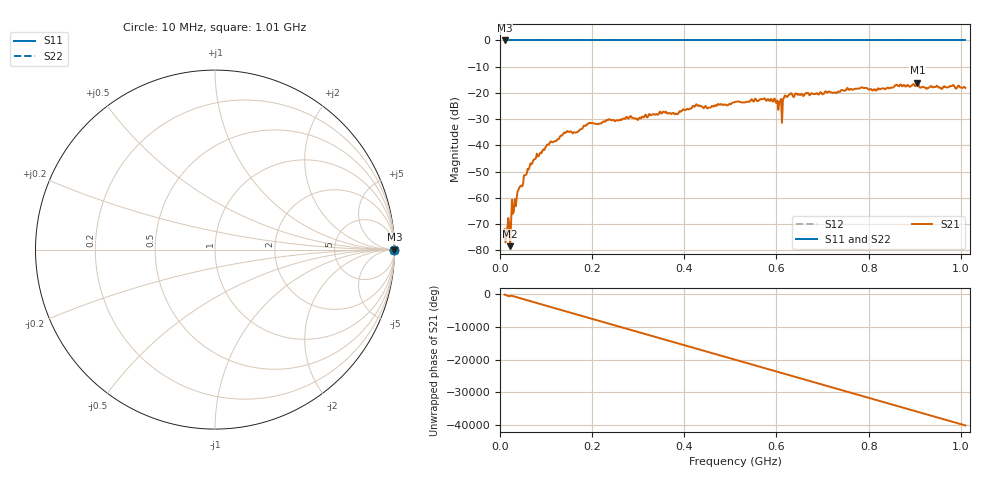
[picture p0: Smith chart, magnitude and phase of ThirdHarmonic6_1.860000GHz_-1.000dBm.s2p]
! 8/16/2025 10:29:50 PM
! C:\ANRITSUVNA\TEMP\TEMP.S2P
! CHANNEL.1
! TR.MEASUREMENT
! RAW.DATA
! RF.CORRECTION.OFF
! AVERAGING.OFF
! IF.BANDWIDTH: 5KHZ
! SWEEPTYPE:  FREQ.SWEEP(Linear)
! Reference Plane Port Info
! PORT:  PORT1  PORT2
! DISTANCE:  0  m  0  m
! TIME:  0  s  0  s
! PHASE.OFFSET:  0  deg.  0  deg.
! LOSS:  0  dB  0  dB
! REF.LOSS:  0  dB  0  dB
! REF.FREQ:  0  Hz  0  Hz
! Power Info
! POWER:  -20  dBm  -20  dBm
! EFF.POWER:  -20  dBm  -20  dBm
! SOURCE.ATTEN:  0  dB  0  dB
! TEST.ATTEN:  0  dB  0  dB
# GHZ S RI R 50.0
! FREQ.GHZ  S11RE  S11IM  S21RE  S21IM  S12RE  S12IM  S22RE  S22IM
!; PortSelection: Port_12
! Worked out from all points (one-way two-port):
!   501 points, 10 MHz to 1.01 GHz, reference 50 ohm
!   highest |S21| = -16.12 dB at 906 MHz (marker M1); lowest = -78.4 dB at 22 MHz (marker M2)
!   lowest |S11| = 0.0 dB at 10 MHz (marker M3)
!   |S11| at or under -10 dB: nowhere
!   |S22| runs from 0.0 to 0.0 dB; largest |S21 - S12| = 1.1
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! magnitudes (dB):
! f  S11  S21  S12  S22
! 10 MHz  0.0  -72.0  0.0  0.0
! 18 MHz  0.0  -67.7  0.0  0.0
! 22 MHz  0.0  -78.4  0.0  0.0
! 26 MHz  0.0  -60.7  0.0  0.0
! 28 MHz  0.0  -66.1  0.0  0.0
! 42 MHz  0.0  -56.0  0.0  0.0
! 76 MHz  0.0  -45.3  0.0  0.0
! 142 MHz  0.0  -35.2  0.0  0.0
! 178 MHz  0.0  -33.7  0.0  0.0
! 194 MHz  0.0  -31.5  0.0  0.0
! 344 MHz  0.0  -28.2  0.0  0.0
! 510 MHz  0.0  -23.4  0.0  0.0
! 592 MHz  0.0  -23.4  0.0  0.0
! 606 MHz  0.0  -23.6  0.0  0.0
! 608 MHz  0.0  -23.1  0.0  0.0
! 616 MHz  0.0  -22.0  0.0  0.0
! 618 MHz  0.0  -21.0  0.0  0.0
! 630 MHz  0.0  -20.3  0.0  0.0
! 678 MHz  0.0  -20.3  0.0  0.0
! 844 MHz  0.0  -18.2  0.0  0.0
! 906 MHz  0.0  -16.1  0.0  0.0
! 1.01 GHz  0.0  -18.1  0.0  0.0
